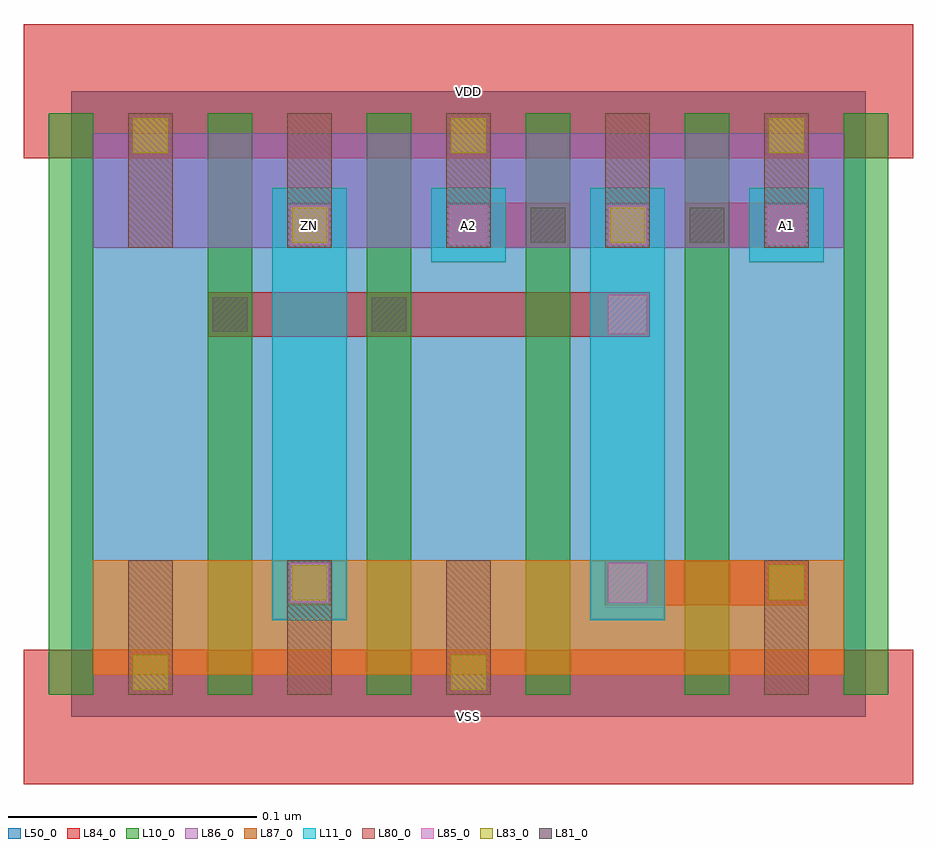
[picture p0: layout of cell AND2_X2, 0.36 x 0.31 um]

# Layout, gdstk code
import gdstk
lib = gdstk.Library(unit=1e-6, precision=1e-09)
def R(c, l, rs):  # rectangles x0, y0, x1, y1
    for r in rs: c.add(gdstk.rectangle(r[:2], r[2:], *l))
def A(c, l, x, y, w, h, nx, ny, dx, dy):  # array of equal rectangles
    R(c, l, [(x+i*dx, y+j*dy, x+i*dx+w, y+j*dy+h) for i in range(nx) for j in range(ny)])
L10_0 = (10, 0)
L11_0 = (11, 0)
L50_0 = (50, 0)
L80_0 = (80, 0)
L81_0 = (81, 0)
L83_0 = (83, 0)
L84_0 = (84, 0)
L85_0 = (85, 0)
L86_0 = (86, 0)
L87_0 = (87, 0)

and2_x2 = lib.new_cell('AND2_X2')
A(and2_x2, L10_0, -0.009, 0.009, 0.018, 0.234, 6, 1, 0.064, 0)
R(and2_x2, L11_0, [(0.081,0.039,0.111,0.213), (0.209,0.039,0.239,0.213), (0.145,0.183,0.175,0.213), (0.273,0.183,0.303,0.213)])
R(and2_x2, L50_0, [(0,0,0.32,0.252)])
A(and2_x2, L80_0, 0.023, 0.009, 0.018, 0.054, 3, 1, 0.064, 0)
A(and2_x2, L80_0, 0.023, 0.189, 0.018, 0.054, 5, 1, 0.064, 0)
R(and2_x2, L80_0, [(0.279,0.009,0.297,0.063)])
R(and2_x2, L81_0, [(0.057,0.155,0.071,0.169), (0.121,0.155,0.135,0.169), (0.185,0.191,0.199,0.205), (0.249,0.191,0.263,0.205)])
A(and2_x2, L83_0, 0.025, 0.227, 0.014, 0.014, 3, 1, 0.128, 0)
R(and2_x2, L83_0, [(0.025,0.011,0.039,0.025), (0.153,0.011,0.167,0.025), (0.089,0.047,0.103,0.061), (0.281,0.047,0.295,0.061), (0.089,0.191,0.103,0.205), (0.217,0.191,0.231,0.205)])
R(and2_x2, L84_0, [(-0.019,-0.027,0.339,0.027), (0.087,0.045,0.105,0.063), (0.215,0.045,0.297,0.063), (0.055,0.153,0.233,0.171), (0.087,0.189,0.105,0.207), (0.151,0.189,0.201,0.207), (0.215,0.189,0.233,0.207), (0.247,0.189,0.297,0.207), (-0.019,0.225,0.339,0.279)])
A(and2_x2, L85_0, 0.088, 0.19, 0.016, 0.016, 4, 1, 0.064, 0)
R(and2_x2, L85_0, [(0.088,0.046,0.104,0.062), (0.216,0.046,0.232,0.062), (0.216,0.154,0.232,0.17)])
R(and2_x2, L86_0, [(0.009,0.189,0.311,0.235)])
R(and2_x2, L87_0, [(0.009,0.017,0.311,0.063)])
and2_x2.add(gdstk.Label('VDD', (0.16,0.252), layer=88, texttype=0))
and2_x2.add(gdstk.Label('VSS', (0.16,0), layer=88, texttype=0))
and2_x2.add(gdstk.Label('ZN', (0.096,0.198), layer=31, texttype=0))
and2_x2.add(gdstk.Label('A2', (0.16,0.198), layer=31, texttype=0))
and2_x2.add(gdstk.Label('A1', (0.288,0.198), layer=31, texttype=0))

lib.write_gds('AND2_X2.gds')
